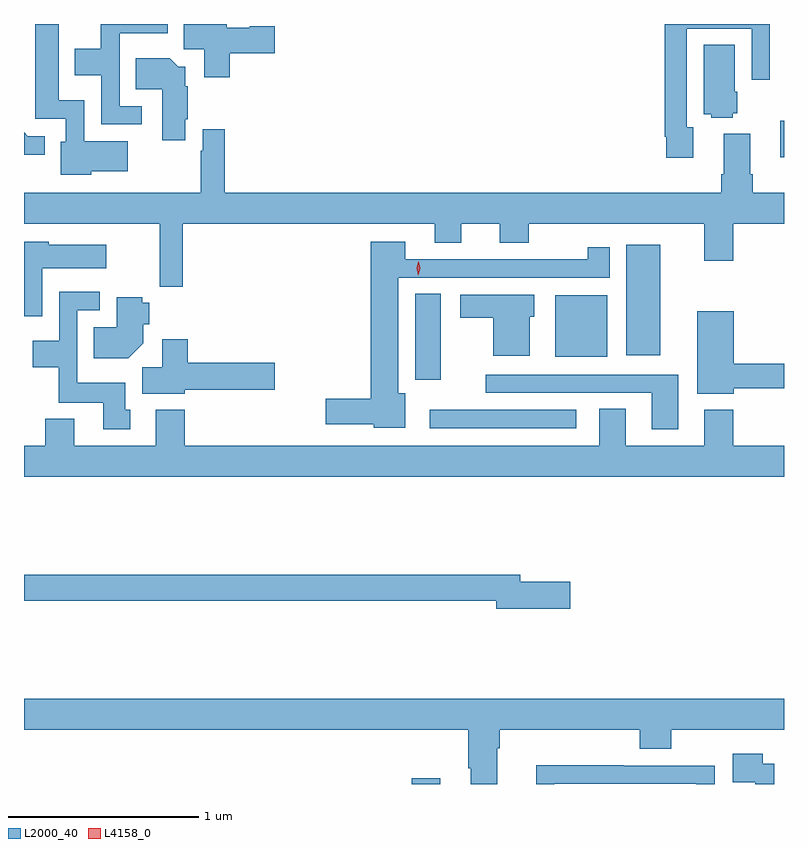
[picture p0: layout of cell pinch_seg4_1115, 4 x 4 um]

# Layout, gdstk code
import gdstk
lib = gdstk.Library(unit=1e-6, precision=1e-09)
def R(c, l, rs):  # rectangles x0, y0, x1, y1
    for r in rs: c.add(gdstk.rectangle(r[:2], r[2:], *l))
def P(c, l, *ps):  # polygons
    for p in ps: c.add(gdstk.Polygon(p, *l))
L2000_40 = (2000, 40)
L4158_0 = (4158, 0)

pinch_seg4_1115 = lib.new_cell('pinch_seg4_1115')
R(pinch_seg4_1115, L2000_40, [(434.631,825.839,434.779,825.868), (434.724,827.712,435.496,827.808), (434.648,827.967,434.782,828.419), (435.386,828.089,435.658,828.412), (435.758,828.095,435.937,828.676), (436.568,829.139,436.589,829.33)])
P(pinch_seg4_1115, L2000_40, [(433.21,829.407),(433.092,829.407),(433.092,829.79),(433.345,829.79),(433.345,829.839),(432.994,829.839),(432.994,829.708),(432.857,829.708),(432.857,829.568),(432.996,829.568),(432.996,829.311),(433.21,829.311)],
  [(433.673,829.685),(433.909,829.685),(433.909,829.827),(433.776,829.827),(433.776,829.819),(433.656,829.819),(433.656,829.839),(433.43,829.839),(433.43,829.707),(433.538,829.707),(433.538,829.56),(433.673,829.56)],
  [(432.942,829.064),(433.135,829.064),(433.135,829.222),(432.906,829.222),(432.906,829.438),(432.772,829.438),(432.772,829.839),(432.647,829.839),(432.647,829.341),(432.81,829.341),(432.81,829.218),(432.782,829.218),(432.782,829.046),(432.942,829.046)],
  [(436.111,829.295),(436.077,829.295),(436.077,829.815),(436.419,829.815),(436.419,829.545),(436.515,829.545),(436.515,829.839),(435.961,829.839),(435.961,829.246),(435.969,829.246),(435.969,829.134),(436.111,829.134)],
  [(436.32,829.368),(436.342,829.368),(436.342,829.482),(436.33,829.482),(436.33,829.73),(436.166,829.73),(436.166,829.364),(436.206,829.364),(436.206,829.346),(436.32,829.346)],
  [(433.438,829.339),(433.451,829.339),(433.451,829.511),(433.438,829.511),(433.438,829.615),(433.4,829.615),(433.355,829.66),(433.177,829.66),(433.177,829.496),(433.316,829.496),(433.316,829.227),(433.438,829.227)],
  [(436.322,828.788),(436.589,828.788),(436.589,828.952),(436.424,828.952),(436.424,829.048),(436.411,829.048),(436.411,829.261),(436.271,829.261),(436.271,829.048),(436.259,829.048),(436.259,828.952),(433.646,828.952),(433.646,829.285),(433.53,829.285),(433.53,829.172),(433.518,829.172),(433.518,828.952),(432.589,828.952),(432.589,828.788),(433.303,828.788),(433.303,828.456),(433.424,828.456),(433.424,828.788),(434.75,828.788),(434.75,828.689),(434.89,828.689),(434.89,828.788),(435.092,828.788),(435.092,828.689),(435.245,828.689),(435.245,828.788),(436.169,828.788),(436.169,828.594),(436.322,828.594)],
  [(432.697,829.248),(432.609,829.248),(432.589,829.268),(432.589,829.151),(432.697,829.151)],
  [(432.684,828.554),(433.021,828.554),(433.021,828.676),(432.72,828.676),(432.72,828.694),(432.589,828.694),(432.589,828.302),(432.684,828.302)],
  [(434.596,827.896),(434.56,827.896),(434.56,828.504),(435.673,828.504),(435.673,828.664),(435.556,828.664),(435.556,828.602),(435.328,828.602),(435.328,828.6),(434.596,828.6),(434.596,828.694),(434.414,828.694),(434.414,827.867),(434.178,827.867),(434.178,827.732),(434.43,827.732),(434.43,827.714),(434.596,827.714)],
  [(433.147,827.808),(433.123,827.808),(433.123,827.95),(432.87,827.95),(432.87,828.333),(432.988,828.333),(432.988,828.429),(432.774,828.429),(432.774,828.172),(432.635,828.172),(432.635,828.032),(432.772,828.032),(432.772,827.846),(433.007,827.846),(433.007,827.706),(433.147,827.706)],
  [(435.25,828.297),(435.274,828.297),(435.274,828.415),(434.886,828.415),(434.886,828.293),(435.059,828.293),(435.059,828.092),(435.25,828.092)],
  [(433.216,828.158),(433.216,828.258),(433.247,828.258),(433.247,828.372),(433.212,828.372),(433.212,828.402),(433.076,828.402),(433.076,828.244),(432.955,828.244),(432.955,828.08),(433.138,828.08)],
  [(436.324,827.922),(436.589,827.922),(436.589,828.05),(436.324,828.05),(436.324,828.328),(436.133,828.328),(436.133,827.894),(436.324,827.894)],
  [(433.434,827.914),(433.909,827.914),(433.909,828.056),(433.451,828.056),(433.451,828.181),(433.316,828.181),(433.316,828.032),(433.211,828.032),(433.211,827.894),(433.434,827.894)],
  [(436.033,827.994),(435.018,827.994),(435.018,827.898),(435.893,827.898),(435.893,827.706),(436.033,827.706)],
  [(436.589,827.62),(436.322,827.62),(436.322,827.809),(436.169,827.809),(436.169,827.62),(435.757,827.62),(435.757,827.813),(435.617,827.813),(435.617,827.62),(433.436,827.62),(433.436,827.809),(433.283,827.809),(433.283,827.62),(432.853,827.62),(432.853,827.761),(432.701,827.761),(432.701,827.62),(432.589,827.62),(432.589,827.456),(436.589,827.456)],
  [(435.463,826.904),(435.202,826.904),(435.202,826.94),(432.589,826.94),(432.589,826.804),(435.074,826.804),(435.074,826.762),(435.463,826.762)],
  [(435.079,826.028),(435.092,826.028),(435.092,826.124),(435.83,826.124),(435.83,826.025),(435.995,826.025),(435.995,826.124),(436.589,826.124),(436.589,826.288),(432.589,826.288),(432.589,826.124),(434.927,826.124),(434.927,825.922),(434.939,825.922),(434.939,825.839),(435.079,825.839)],
  [(436.538,825.945),(436.476,825.945),(436.476,825.997),(436.32,825.997),(436.32,825.849),(436.437,825.849),(436.437,825.839),(436.538,825.839)],
  [(435.381,825.84),(436.128,825.84),(436.128,825.839),(436.224,825.839),(436.224,825.936),(435.746,825.936),(435.746,825.938),(435.284,825.938),(435.284,825.839),(435.381,825.839)])
P(pinch_seg4_1115, L4158_0, [(434.665,828.517),(434.665,828.517),(434.655,828.553),(434.665,828.589),(434.666,828.589),(434.666,828.589),(434.675,828.553),(434.665,828.517)])

lib.write_gds('pinch_seg4_1115.gds')
